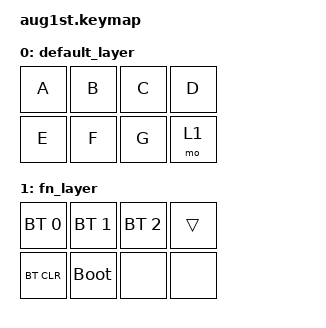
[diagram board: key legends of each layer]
#include <behaviors.dtsi>
#include <dt-bindings/zmk/keys.h>
#include <dt-bindings/zmk/bt.h>

/ {
    keymap {
        compatible = "zmk,keymap";

        default_layer {
            bindings = <
                &kp A  &kp B  &kp C  &kp D
                &kp E  &kp F  &kp G  &mo 1
            >;
        };

        fn_layer {
            bindings = <
                &bt BT_SEL 0  &bt BT_SEL 1  &bt BT_SEL 2  &trans
                &bt BT_CLR    &bootloader   &none         &none
            >;
        };
    };
};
